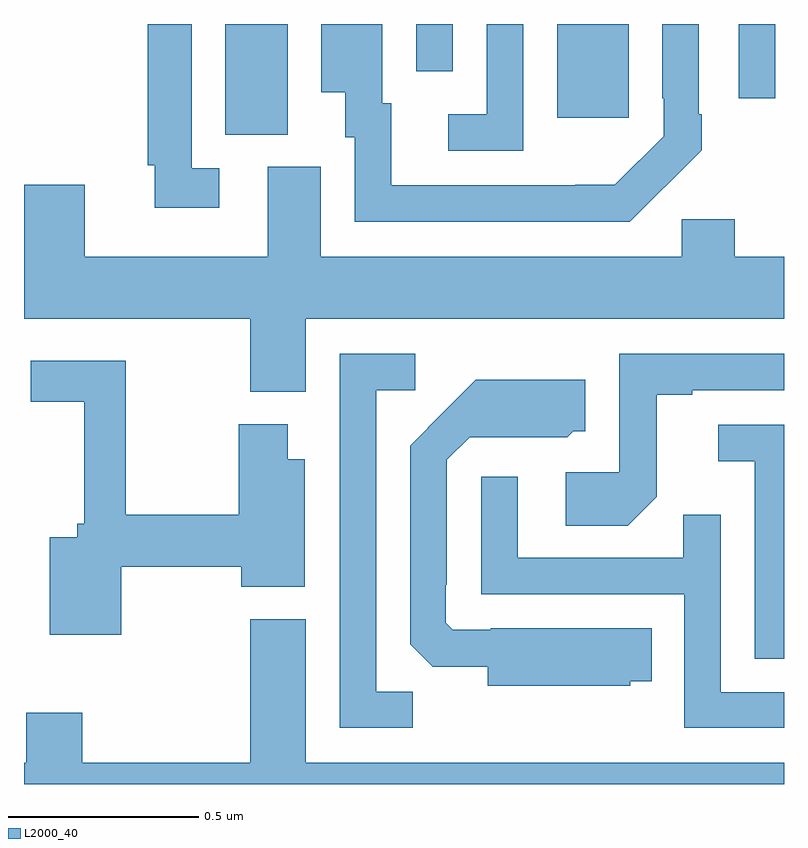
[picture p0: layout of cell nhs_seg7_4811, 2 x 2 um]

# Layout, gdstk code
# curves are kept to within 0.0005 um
import gdstk
lib = gdstk.Library(unit=1e-6, precision=1e-09)
def R(c, l, rs):  # rectangles x0, y0, x1, y1
    for r in rs: c.add(gdstk.rectangle(r[:2], r[2:], *l))
def P(c, l, *ps):  # polygons
    for p in ps: c.add(gdstk.Polygon(p, *l))
L2000_40 = (2000, 40)

nhs_seg7_4811 = lib.new_cell('nhs_seg7_4811')
R(nhs_seg7_4811, L2000_40, [(177.53,1059.709,177.694,1060), (178.403,1059.753,178.591,1060), (178.881,1059.804,178.977,1060), (178.032,1059.876,178.128,1060)])
P(nhs_seg7_4811, L2000_40, [(178.685,1059.571),(178.686,1059.57),(178.784,1059.668),(178.784,1059.763),(178.776,1059.763),(178.776,1060),(178.68,1060),(178.68,1059.805),(178.683,1059.805),(178.683,1059.705),(178.555,1059.577),(178.451,1059.577),(178.451,1059.576),(177.967,1059.576),(177.967,1059.792),(177.943,1059.792),(177.943,1060),(177.782,1060),(177.782,1059.821),(177.845,1059.821),(177.845,1059.702),(177.87,1059.702),(177.87,1059.48),(178.594,1059.48)],
  [(177.514,1059.621),(177.441,1059.621),(177.441,1060),(177.325,1060),(177.325,1059.628),(177.344,1059.628),(177.344,1059.516),(177.514,1059.516)],
  [(178.314,1060),(178.218,1060),(178.218,1059.762),(178.116,1059.762),(178.116,1059.666),(178.314,1059.666)],
  [(177.742,1059.224),(179,1059.224),(179,1059.388),(178.87,1059.388),(178.87,1059.486),(178.731,1059.486),(178.731,1059.388),(177.781,1059.388),(177.781,1059.624),(177.641,1059.624),(177.641,1059.388),(177.16,1059.388),(177.16,1059.577),(177,1059.577),(177,1059.224),(177.595,1059.224),(177.595,1059.032),(177.742,1059.032)],
  [(178.665,1058.756),(178.665,1059.024),(178.759,1059.024),(178.759,1059.036),(179,1059.036),(179,1059.132),(178.566,1059.132),(178.566,1058.82),(178.425,1058.82),(178.425,1058.68),(178.589,1058.68)],
  [(178.023,1058.243),(177.927,1058.243),(177.927,1059.036),(178.03,1059.036),(178.03,1059.132),(177.831,1059.132),(177.831,1058.148),(178.023,1058.148)],
  [(177.256,1058.572),(177.572,1058.572),(177.572,1058.519),(177.739,1058.519),(177.739,1058.854),(177.694,1058.854),(177.694,1058.947),(177.565,1058.947),(177.565,1058.708),(177.268,1058.708),(177.268,1059.114),(177.018,1059.114),(177.018,1059.006),(177.158,1059.006),(177.158,1058.685),(177.14,1058.685),(177.14,1058.65),(177.068,1058.65),(177.068,1058.393),(177.256,1058.393)],
  [(178.596,1058.27),(178.652,1058.27),(178.652,1058.41),(178.228,1058.41),(178.228,1058.406),(178.128,1058.406),(178.11,1058.424),(178.11,1058.524),(178.113,1058.524),(178.113,1058.853),(178.173,1058.913),(178.296,1058.913),(178.296,1058.912),(178.43,1058.912),(178.446,1058.928),(178.477,1058.928),(178.477,1059.064),(178.189,1059.064),(178.017,1058.89),(178.017,1058.368),(178.076,1058.309),(178.22,1058.309),(178.22,1058.258),(178.596,1058.258)],
  [(179,1058.946),(178.827,1058.946),(178.827,1058.849),(178.923,1058.849),(178.923,1058.329),(179,1058.329)],
  [(179,1058.241),(178.833,1058.241),(178.833,1058.708),(178.735,1058.708),(178.735,1058.595),(178.299,1058.595),(178.299,1058.809),(178.203,1058.809),(178.203,1058.499),(178.737,1058.499),(178.737,1058.148),(179,1058.148)],
  [(179,1058.056),(177.742,1058.056),(177.742,1058.434),(177.595,1058.434),(177.595,1058.056),(177.153,1058.056),(177.153,1058.188),(177.006,1058.188),(177.006,1058.056),(177,1058.056),(177,1058),(179,1058)])

lib.write_gds('nhs_seg7_4811.gds')
